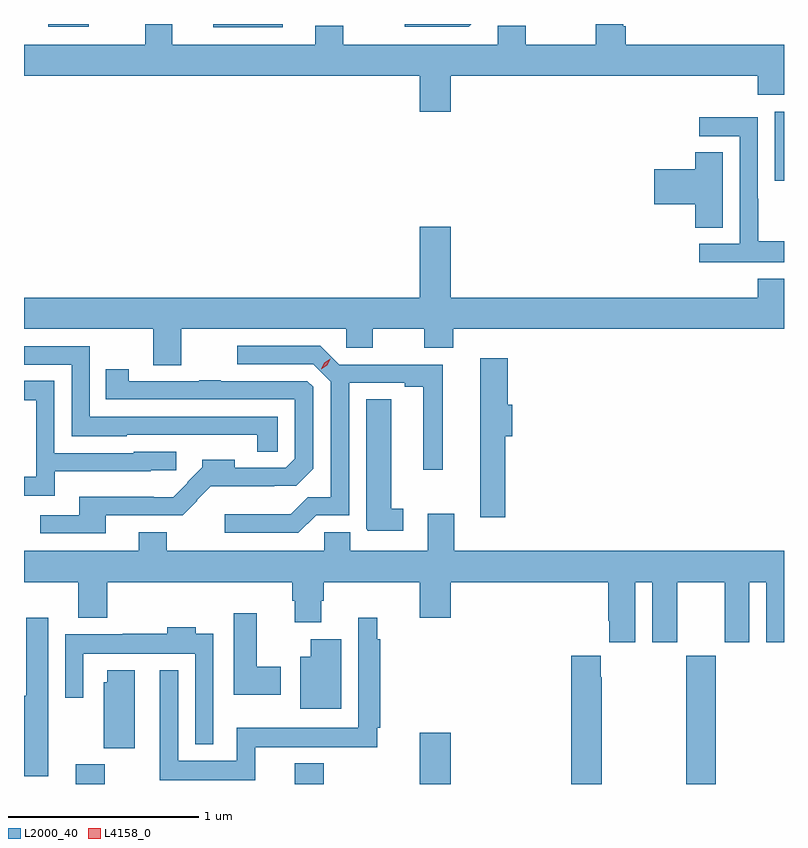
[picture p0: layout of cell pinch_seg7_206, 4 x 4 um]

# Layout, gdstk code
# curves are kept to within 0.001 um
import gdstk
lib = gdstk.Library(unit=1e-6, precision=1e-09)
def R(c, l, rs):  # rectangles x0, y0, x1, y1
    for r in rs: c.add(gdstk.rectangle(r[:2], r[2:], *l))
def P(c, l, *ps):  # polygons
    for p in ps: c.add(gdstk.Polygon(p, *l))
L2000_40 = (2000, 40)
L4158_0 = (4158, 0)

pinch_seg7_206 = lib.new_cell('pinch_seg7_206')
R(pinch_seg7_206, L2000_40, [(642.719,1044.841,642.871,1044.945), (643.871,1044.841,644.024,1044.949), (644.528,1044.841,644.692,1045.111), (645.931,1044.841,646.086,1045.516), (646.397,1048.017,646.446,1048.378), (643.443,1048.824,643.807,1048.841), (642.573,1048.827,642.787,1048.841)])
P(pinch_seg7_206, L2000_40, [(644.801,1048.841),(644.451,1048.841),(644.451,1048.827),(644.787,1048.827)],
  [(644.692,1048.568),(646.307,1048.568),(646.307,1048.469),(646.446,1048.469),(646.446,1048.732),(645.614,1048.732),(645.614,1048.828),(645.601,1048.828),(645.601,1048.841),(645.454,1048.841),(645.454,1048.732),(645.087,1048.732),(645.087,1048.831),(644.94,1048.831),(644.94,1048.732),(644.127,1048.732),(644.127,1048.831),(643.979,1048.831),(643.979,1048.732),(643.225,1048.732),(643.225,1048.841),(643.085,1048.841),(643.085,1048.732),(642.446,1048.732),(642.446,1048.568),(644.528,1048.568),(644.528,1048.38),(644.692,1048.38)],
  [(646.446,1047.697),(646.311,1047.697),(646.311,1047.92),(646.308,1047.92),(646.308,1048.35),(645.999,1048.35),(645.999,1048.251),(646.212,1048.251),(646.212,1047.684),(645.999,1047.684),(645.999,1047.588),(646.446,1047.588)],
  [(646.123,1048.166),(645.98,1048.166),(645.98,1048.076),(645.762,1048.076),(645.762,1047.893),(645.98,1047.893),(645.98,1047.769),(646.123,1047.769)],
  [(643.273,1047.236),(644.142,1047.236),(644.142,1047.138),(644.281,1047.138),(644.281,1047.236),(644.552,1047.236),(644.552,1047.137),(644.705,1047.137),(644.705,1047.236),(646.446,1047.236),(646.446,1047.499),(646.307,1047.499),(646.307,1047.4),(644.692,1047.4),(644.692,1047.775),(644.528,1047.775),(644.528,1047.4),(642.446,1047.4),(642.446,1047.236),(643.126,1047.236),(643.126,1047.046),(643.273,1047.046)],
  [(643.983,1046.256),(644.157,1046.256),(644.157,1046.952),(644.45,1046.952),(644.45,1046.932),(644.546,1046.932),(644.546,1046.496),(644.65,1046.496),(644.65,1047.048),(644.104,1047.048),(644.005,1047.147),(643.569,1047.147),(643.569,1047.051),(643.968,1047.051),(644.061,1046.958),(644.061,1046.351),(643.94,1046.351),(643.849,1046.26),(643.503,1046.26),(643.503,1046.163),(643.89,1046.163)],
  [(643.782,1046.775),(642.792,1046.775),(642.792,1047.144),(642.446,1047.144),(642.446,1047.048),(642.696,1047.048),(642.696,1046.672),(642.987,1046.672),(642.987,1046.679),(643.419,1046.679),(643.419,1046.678),(643.674,1046.678),(643.674,1046.59),(643.782,1046.59)],
  [(644.978,1046.672),(645.017,1046.672),(645.017,1046.838),(644.993,1046.838),(644.993,1047.082),(644.846,1047.082),(644.846,1046.244),(644.978,1046.244)],
  [(642.877,1046.256),(643.281,1046.256),(643.357,1046.333),(643.355,1046.335),(643.429,1046.409),(643.763,1046.408),(643.763,1046.41),(643.879,1046.41),(643.968,1046.499),(643.968,1046.931),(643.938,1046.961),(643.481,1046.961),(643.481,1046.966),(643.369,1046.966),(643.369,1046.961),(642.996,1046.961),(642.996,1047.025),(642.877,1047.025),(642.877,1046.865),(643.872,1046.865),(643.872,1046.553),(643.824,1046.505),(643.555,1046.505),(643.555,1046.548),(643.384,1046.548),(643.384,1046.509),(643.305,1046.43),(643.308,1046.427),(643.232,1046.351),(643.13,1046.351),(643.13,1046.353),(642.737,1046.353),(642.737,1046.256),(642.531,1046.256),(642.531,1046.16),(642.877,1046.16)],
  [(642.607,1046.486),(643.113,1046.486),(643.113,1046.493),(643.248,1046.493),(643.248,1046.589),(643.023,1046.589),(643.023,1046.583),(642.606,1046.583),(642.606,1046.963),(642.446,1046.963),(642.446,1046.862),(642.51,1046.862),(642.51,1046.457),(642.446,1046.457),(642.446,1046.357),(642.607,1046.357)],
  [(644.443,1046.291),(644.38,1046.291),(644.38,1046.867),(644.246,1046.867),(644.246,1046.185),(644.256,1046.175),(644.443,1046.175)],
  [(644.71,1046.263),(644.57,1046.263),(644.57,1046.068),(644.164,1046.068),(644.164,1046.166),(644.025,1046.166),(644.025,1046.068),(643.197,1046.068),(643.197,1046.167),(643.049,1046.167),(643.049,1046.068),(642.446,1046.068),(642.446,1045.904),(642.731,1045.904),(642.731,1045.715),(642.884,1045.715),(642.884,1045.904),(643.859,1045.904),(643.859,1045.806),(643.871,1045.806),(643.871,1045.692),(644.011,1045.692),(644.011,1045.806),(644.024,1045.806),(644.024,1045.904),(644.528,1045.904),(644.528,1045.716),(644.692,1045.716),(644.692,1045.904),(645.521,1045.904),(645.521,1045.699),(645.527,1045.699),(645.527,1045.587),(645.664,1045.587),(645.664,1045.904),(645.752,1045.904),(645.752,1045.587),(645.883,1045.587),(645.883,1045.904),(646.133,1045.904),(646.133,1045.587),(646.264,1045.587),(646.264,1045.904),(646.352,1045.904),(646.352,1045.587),(646.446,1045.587),(646.446,1046.068),(644.71,1046.068)],
  [(643.798,1045.458),(643.672,1045.458),(643.672,1045.741),(643.55,1045.741),(643.55,1045.31),(643.798,1045.31)],
  [(642.574,1045.202),(642.573,1045.202),(642.573,1045.717),(642.457,1045.717),(642.457,1045.306),(642.446,1045.306),(642.446,1044.882),(642.574,1044.882)],
  [(643.664,1045.034),(644.304,1045.034),(644.304,1045.138),(644.321,1045.138),(644.321,1045.604),(644.304,1045.604),(644.304,1045.717),(644.205,1045.717),(644.205,1045.138),(643.566,1045.138),(643.566,1044.964),(643.257,1044.964),(643.257,1045.441),(643.16,1045.441),(643.16,1044.86),(643.664,1044.86)],
  [(643.443,1045.633),(643.351,1045.633),(643.351,1045.666),(643.199,1045.666),(643.199,1045.633),(642.967,1045.633),(642.967,1045.63),(642.663,1045.63),(642.663,1045.296),(642.759,1045.296),(642.759,1045.526),(643.347,1045.526),(643.347,1045.049),(643.443,1045.049)],
  [(644.116,1045.603),(643.955,1045.603),(643.955,1045.51),(643.901,1045.51),(643.901,1045.238),(644.116,1045.238)],
  [(645.486,1045.403),(645.481,1045.403),(645.481,1045.516),(645.326,1045.516),(645.326,1044.841),(645.486,1044.841)],
  [(643.03,1045.441),(642.884,1045.441),(642.884,1045.377),(642.866,1045.377),(642.866,1045.03),(643.03,1045.03)])
P(pinch_seg7_206, L4158_0, [(644.011,1047.024),(644.011,1047.024),(644.027,1047.058),(644.058,1047.079),(644.058,1047.079),(644.058,1047.079),(644.042,1047.045),(644.011,1047.024)])

lib.write_gds('pinch_seg7_206.gds')
